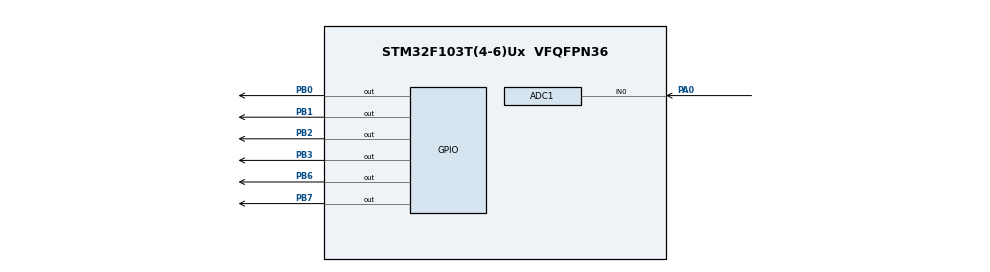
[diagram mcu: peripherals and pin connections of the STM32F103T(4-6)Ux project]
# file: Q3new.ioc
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ADC1.Channel-0\#ChannelRegularConversion=ADC_CHANNEL_0
ADC1.NbrOfConversionFlag=1
ADC1.Rank-0\#ChannelRegularConversion=1
ADC1.SamplingTime-0\#ChannelRegularConversion=ADC_SAMPLETIME_1CYCLE_5
ADC1.master=1
Mcu.Family=STM32F1
Mcu.Name=STM32F103T(4-6)Ux
Mcu.Package=VFQFPN36
NVIC.PriorityGroup=NVIC_PRIORITYGROUP_4
PA0-WKUP.Signal=ADCx_IN0
PB0.Signal=GPIO_Output
PB1.Signal=GPIO_Output
PB2.Signal=GPIO_Output
PB3.Signal=GPIO_Output
PB6.Signal=GPIO_Output
PB7.Signal=GPIO_Output
ProjectManager.HeapSize=0x200
ProjectManager.StackSize=0x400
ProjectManager.TargetToolchain=STM32CubeIDE
RCC.APB1Freq_Value=8000000
RCC.APB2Freq_Value=8000000
SH.ADCx_IN0.0=ADC1_IN0,IN0
VP_SYS_VS_ND.Mode=No_Debug
board=custom

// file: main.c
/* USER CODE BEGIN Header */
/**
  ******************************************************************************
  * @file           : main.c
  * @brief          : Main program body
  ******************************************************************************
  * @attention
  *
  * Copyright (c) 2025 STMicroelectronics.
  * All rights reserved.
  *
  * This software is licensed under terms that can be found in the LICENSE file
  * in the root directory of this software component.
  * If no LICENSE file comes with this software, it is provided AS-IS.
  *
  ******************************************************************************
  */
/* USER CODE END Header */
#include "main.h"
#include "main.h"
#include <stdio.h>
#include <string.h>
#include "stdio.h"

/* USER CODE BEGIN PD */
#define RS_Pin GPIO_PIN_6
#define EN_Pin GPIO_PIN_7
#define D4_Pin GPIO_PIN_0
#define D5_Pin GPIO_PIN_1
#define D6_Pin GPIO_PIN_2
#define D7_Pin GPIO_PIN_3
#define LCD_Port GPIOB
/* USER CODE END PD */

ADC_HandleTypeDef hadc1;

void SystemClock_Config(void);
static void MX_GPIO_Init(void);
static void MX_ADC1_Init(void);

/* USER CODE BEGIN 0 */
void LCD_Delay(uint32_t time) {
  for (uint32_t i = 0; i < time * 10; i++) __NOP();
}

void LCD_EnablePulse(void) {
  HAL_GPIO_WritePin(LCD_Port, EN_Pin, GPIO_PIN_SET);
  LCD_Delay(2);
  HAL_GPIO_WritePin(LCD_Port, EN_Pin, GPIO_PIN_RESET);
  LCD_Delay(2);
}

void LCD_Send4Bits(uint8_t data) {
  HAL_GPIO_WritePin(LCD_Port, D4_Pin, (data >> 0) & 1);
  HAL_GPIO_WritePin(LCD_Port, D5_Pin, (data >> 1) & 1);
  HAL_GPIO_WritePin(LCD_Port, D6_Pin, (data >> 2) & 1);
  HAL_GPIO_WritePin(LCD_Port, D7_Pin, (data >> 3) & 1);
  LCD_EnablePulse();
}

void LCD_SendCommand(uint8_t cmd) {
  HAL_GPIO_WritePin(LCD_Port, RS_Pin, GPIO_PIN_RESET);
  LCD_Send4Bits(cmd >> 4);
  LCD_Send4Bits(cmd & 0x0F);
  LCD_Delay(5);
}

void LCD_SendData(uint8_t data) {
  HAL_GPIO_WritePin(LCD_Port, RS_Pin, GPIO_PIN_SET);
  LCD_Send4Bits(data >> 4);
  LCD_Send4Bits(data & 0x0F);
  LCD_Delay(5);
}

void LCD_SendString(char* str) {
  while (*str) LCD_SendData(*str++);
}

void LCD_SetCursor(uint8_t row, uint8_t col) {
  uint8_t pos = (row == 0) ? (0x80 + col) : (0xC0 + col);
  LCD_SendCommand(pos);
}

void LCD_Init(void) {
  LCD_Delay(500);
  LCD_Send4Bits(0x03); LCD_Delay(50);
  LCD_Send4Bits(0x03); LCD_Delay(50);
  LCD_Send4Bits(0x03); LCD_Delay(50);
  LCD_Send4Bits(0x02);

  LCD_SendCommand(0x28);
  LCD_SendCommand(0x0C);
  LCD_SendCommand(0x06);
  LCD_SendCommand(0x01);
}
uint16_t Read_ADC(void) {
  HAL_ADC_Start(&hadc1);
  HAL_ADC_PollForConversion(&hadc1, HAL_MAX_DELAY);
  return HAL_ADC_GetValue(&hadc1);
}
/* USER CODE END 0 */

int main(void)
{

  /* MCU Configuration--------------------------------------------------------*/

  /* Reset of all peripherals, Initializes the Flash interface and the Systick. */
  HAL_Init();

  /* Configure the system clock */
  SystemClock_Config();

  /* Initialize all configured peripherals */
  MX_GPIO_Init();
  MX_ADC1_Init();
  /* USER CODE BEGIN 2 */
  LCD_Init();
  LCD_SetCursor(1, 0);
  LCD_SendString("810101453");
  char buffer[20];
  uint16_t adc_raw;
  float voltage;
  /* USER CODE END 2 */

  /* Infinite loop */
  while (1)
  {

    /* USER CODE BEGIN 3 */
	  adc_raw = Read_ADC();
	       voltage = (adc_raw * 5.0f) / 4095.0f;

	       char buffer[16];
	       sprintf(buffer, "%.2f V", voltage);

	       LCD_SetCursor(0, 0);
	       LCD_SendString("ADC: ");

	       LCD_SetCursor(0, 5);
	       LCD_SendString(buffer);
	       HAL_Delay(100);
  }
  /* USER CODE END 3 */
}

void SystemClock_Config(void)
{
  RCC_OscInitTypeDef RCC_OscInitStruct = {0};
  RCC_ClkInitTypeDef RCC_ClkInitStruct = {0};
  RCC_PeriphCLKInitTypeDef PeriphClkInit = {0};

  /** Initializes the RCC Oscillators according to the specified parameters
  * in the RCC_OscInitTypeDef structure.
  */
  RCC_OscInitStruct.OscillatorType = RCC_OSCILLATORTYPE_HSI;
  RCC_OscInitStruct.HSIState = RCC_HSI_ON;
  RCC_OscInitStruct.HSICalibrationValue = RCC_HSICALIBRATION_DEFAULT;
  RCC_OscInitStruct.PLL.PLLState = RCC_PLL_NONE;
  if (HAL_RCC_OscConfig(&RCC_OscInitStruct) != HAL_OK)
  {
    Error_Handler();
  }

  /** Initializes the CPU, AHB and APB buses clocks
  */
  RCC_ClkInitStruct.ClockType = RCC_CLOCKTYPE_HCLK|RCC_CLOCKTYPE_SYSCLK
                              |RCC_CLOCKTYPE_PCLK1|RCC_CLOCKTYPE_PCLK2;
  RCC_ClkInitStruct.SYSCLKSource = RCC_SYSCLKSOURCE_HSI;
  RCC_ClkInitStruct.AHBCLKDivider = RCC_SYSCLK_DIV1;
  RCC_ClkInitStruct.APB1CLKDivider = RCC_HCLK_DIV1;
  RCC_ClkInitStruct.APB2CLKDivider = RCC_HCLK_DIV1;

  if (HAL_RCC_ClockConfig(&RCC_ClkInitStruct, FLASH_LATENCY_0) != HAL_OK)
  {
    Error_Handler();
  }
  PeriphClkInit.PeriphClockSelection = RCC_PERIPHCLK_ADC;
  PeriphClkInit.AdcClockSelection = RCC_ADCPCLK2_DIV2;
  if (HAL_RCCEx_PeriphCLKConfig(&PeriphClkInit) != HAL_OK)
  {
    Error_Handler();
  }
}

static void MX_ADC1_Init(void)
{

  ADC_ChannelConfTypeDef sConfig = {0};

  /** Common config
  */
  hadc1.Instance = ADC1;
  hadc1.Init.ScanConvMode = ADC_SCAN_DISABLE;
  hadc1.Init.ContinuousConvMode = DISABLE;
  hadc1.Init.DiscontinuousConvMode = DISABLE;
  hadc1.Init.ExternalTrigConv = ADC_SOFTWARE_START;
  hadc1.Init.DataAlign = ADC_DATAALIGN_RIGHT;
  hadc1.Init.NbrOfConversion = 1;
  if (HAL_ADC_Init(&hadc1) != HAL_OK)
  {
    Error_Handler();
  }

  /** Configure Regular Channel
  */
  sConfig.Channel = ADC_CHANNEL_0;
  sConfig.Rank = ADC_REGULAR_RANK_1;
  sConfig.SamplingTime = ADC_SAMPLETIME_1CYCLE_5;
  if (HAL_ADC_ConfigChannel(&hadc1, &sConfig) != HAL_OK)
  {
    Error_Handler();
  }

}

static void MX_GPIO_Init(void)
{
  GPIO_InitTypeDef GPIO_InitStruct = {0};

  /* GPIO Ports Clock Enable */
  __HAL_RCC_GPIOA_CLK_ENABLE();
  __HAL_RCC_GPIOB_CLK_ENABLE();

  /*Configure GPIO pin Output Level */
  HAL_GPIO_WritePin(GPIOB, GPIO_PIN_0|GPIO_PIN_1|GPIO_PIN_2|GPIO_PIN_3
                          |GPIO_PIN_6|GPIO_PIN_7, GPIO_PIN_RESET);

  /*Configure GPIO pins : PB0 PB1 PB2 PB3
                           PB6 PB7 */
  GPIO_InitStruct.Pin = GPIO_PIN_0|GPIO_PIN_1|GPIO_PIN_2|GPIO_PIN_3
                          |GPIO_PIN_6|GPIO_PIN_7;
  GPIO_InitStruct.Mode = GPIO_MODE_OUTPUT_PP;
  GPIO_InitStruct.Pull = GPIO_NOPULL;
  GPIO_InitStruct.Speed = GPIO_SPEED_FREQ_LOW;
  HAL_GPIO_Init(GPIOB, &GPIO_InitStruct);

}

void Error_Handler(void)
{
  __disable_irq();
  while (1)
  {
  }
}
